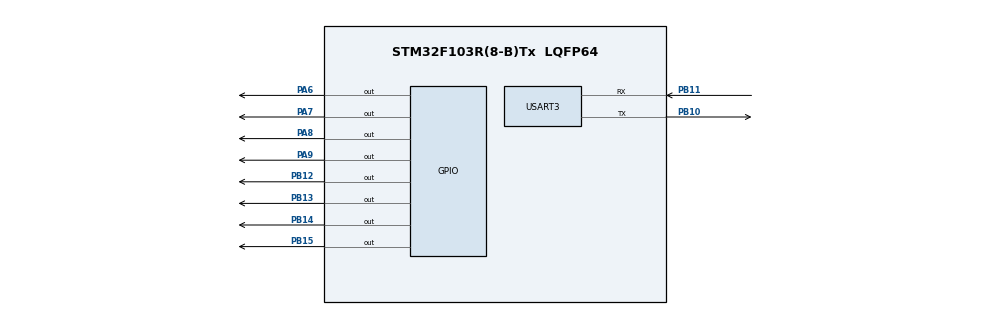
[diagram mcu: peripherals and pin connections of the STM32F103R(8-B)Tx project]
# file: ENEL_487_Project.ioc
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FREERTOS.Tasks01=defaultTask,24,128,StartDefaultTask,Default,NULL,Dynamic,NULL,NULL
Mcu.Family=STM32F1
Mcu.Name=STM32F103R(8-B)Tx
Mcu.Package=LQFP64
NVIC.PriorityGroup=NVIC_PRIORITYGROUP_4
NVIC.TIM4_IRQn=true\:0\:0\:false\:false\:true\:false\:false\:true
NVIC.TimeBase=TIM4_IRQn
NVIC.TimeBaseIP=TIM4
PA13.Mode=Serial_Wire
PA13.Signal=SYS_JTMS-SWDIO
PA14.Mode=Serial_Wire
PA14.Signal=SYS_JTCK-SWCLK
PA6.Signal=GPIO_Output
PA7.Signal=GPIO_Output
PA8.Signal=GPIO_Output
PA9.Signal=GPIO_Output
PB10.Mode=Asynchronous
PB10.Signal=USART3_TX
PB11.Mode=Asynchronous
PB11.Signal=USART3_RX
PB12.Signal=GPIO_Output
PB13.Signal=GPIO_Output
PB14.Signal=GPIO_Output
PB15.Signal=GPIO_Output
ProjectManager.HeapSize=0x200
ProjectManager.StackSize=0x400
ProjectManager.TargetToolchain=STM32CubeIDE
RCC.APB1Freq_Value=8000000
RCC.APB2Freq_Value=8000000
USART3.VirtualMode=VM_ASYNC
VP_FREERTOS_VS_CMSIS_V2.Mode=CMSIS_V2
VP_SYS_VS_tim4.Mode=TIM4
VP_TIM2_VS_ClockSourceINT.Mode=Internal
board=custom

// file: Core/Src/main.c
/* USER CODE BEGIN Header */
/**
  ******************************************************************************
  * @file           : main.c
  * @brief          : Main program body
  ******************************************************************************
  * @attention
  *
  * <h2><center>&copy; Copyright (c) 2020 STMicroelectronics.
  * All rights reserved.</center></h2>
  *
  * This software component is licensed by ST under BSD 3-Clause license,
  * the "License"; You may not use this file except in compliance with the
  * License. You may obtain a copy of the License at:
  *                        opensource.org/licenses/BSD-3-Clause
  *
  ******************************************************************************
  */
/* USER CODE END Header */
#include "main.h"
#include "cmsis_os.h"

/* USER CODE BEGIN Includes */
#include <stdlib.h>
#include <stdio.h>
#include <string.h>
#include <stdbool.h>
/* USER CODE END Includes */

TIM_HandleTypeDef htim2;

UART_HandleTypeDef huart3;

/* Definitions for cliTask */
osThreadId_t cliTaskHandle;
const osThreadAttr_t cliTask_attributes = {
  .name = "cliTask",
  .priority = (osPriority_t) osPriorityNormal,
  .stack_size = 128 * 4
};
/* Definitions for statusUpdate */
osThreadId_t statusUpdateHandle;
const osThreadAttr_t statusUpdate_attributes = {
  .name = "statusUpdate",
  .priority = (osPriority_t) osPriorityBelowNormal,
  .stack_size = 128 * 4
};
/* Definitions for stateController */
osThreadId_t stateControllerHandle;
const osThreadAttr_t stateController_attributes = {
  .name = "stateController",
  .priority = (osPriority_t) osPriorityAboveNormal,
  .stack_size = 128 * 4
};
/* Definitions for CLI_Queue */
osMessageQueueId_t CLI_QueueHandle;
const osMessageQueueAttr_t CLI_Queue_attributes = {
  .name = "CLI_Queue"
};
/* Definitions for Status_Queue */
osMessageQueueId_t Status_QueueHandle;
const osMessageQueueAttr_t Status_Queue_attributes = {
  .name = "Status_Queue"
};
/* Definitions for myTimer01 */
osTimerId_t myTimer01Handle;
const osTimerAttr_t myTimer01_attributes = {
  .name = "myTimer01"
};
/* USER CODE BEGIN PV */

const static char* ENTER_CMD = "Enter command or '?' to see available commands: ";

#define CLEAR "\x1b[2J"
#define RC(r,c) "\x1b[" #r ";" #c "f"
#define ROLL_TO_BOTTOM(r) "\x1b[" #r ";r"
#define SAVE_CURSOR "\x1b[s"
#define RESTORE_CURSOR "\x1b[u"
#define MAX_USER_INPUT  50
#define forward "\x1b[1C"

uint8_t cli_buffer_TX[MAX_USER_INPUT];
uint8_t cli_buffer_RX[MAX_USER_INPUT];
uint8_t cli_char_RX;
int counter = 0;

bool line_complete = false;
/* USER CODE END PV */

void SystemClock_Config(void);
static void MX_GPIO_Init(void);
static void MX_TIM2_Init(void);
static void MX_USART3_UART_Init(void);
void startcliTask(void *argument);
void updateTask(void *argument);
void controllerTask(void *argument);
void Callback01(void *argument);

int main(void)
{

  /* MCU Configuration--------------------------------------------------------*/

  /* Reset of all peripherals, Initializes the Flash interface and the Systick. */
  HAL_Init();

  /* Configure the system clock */
  SystemClock_Config();

  /* Initialize all configured peripherals */
  MX_GPIO_Init();
  MX_TIM2_Init();
  MX_USART3_UART_Init();

  /* USER CODE BEGIN 2 */
  HAL_GPIO_WritePin(GPIOA, GPIO_PIN_6, GPIO_PIN_SET);
  HAL_GPIO_WritePin(GPIOA, GPIO_PIN_7, GPIO_PIN_SET);
  HAL_GPIO_WritePin(GPIOA, GPIO_PIN_8, GPIO_PIN_SET);
  HAL_GPIO_WritePin(GPIOA, GPIO_PIN_9, GPIO_PIN_SET);
  HAL_GPIO_WritePin(GPIOB, GPIO_PIN_12, GPIO_PIN_SET);
  HAL_GPIO_WritePin(GPIOB, GPIO_PIN_13, GPIO_PIN_SET);
  HAL_GPIO_WritePin(GPIOB, GPIO_PIN_14, GPIO_PIN_SET);
  HAL_GPIO_WritePin(GPIOB, GPIO_PIN_15, GPIO_PIN_SET);

      strcpy (cli_buffer_TX, "\x1b[2J");
      print_string_block("\x1b[2J");
      print_string_block(CLEAR);
      HAL_Delay(500);
      HAL_Delay(2000);
      print_string_block(CLEAR);
      print_string_block(RC(5,1));
      print_string_block(ROLL_TO_BOTTOM(5));
      print_string_block(RC(5,1));
      print_string_block(ENTER_CMD);
  /* USER CODE END 2 */

  /* Init scheduler */
  osKernelInitialize();

  /* Create the timer(s) */
  /* creation of myTimer01 */
  myTimer01Handle = osTimerNew(Callback01, osTimerPeriodic, NULL, &myTimer01_attributes);

  /* Create the queue(s) */
  /* creation of CLI_Queue */
  CLI_QueueHandle = osMessageQueueNew (1, sizeof(uint16_t), &CLI_Queue_attributes);

  /* creation of Status_Queue */
  Status_QueueHandle = osMessageQueueNew (1, sizeof(uint16_t), &Status_Queue_attributes);

  /* Create the thread(s) */
  /* creation of cliTask */
  cliTaskHandle = osThreadNew(startcliTask, NULL, &cliTask_attributes);

  /* creation of statusUpdate */
  statusUpdateHandle = osThreadNew(updateTask, NULL, &statusUpdate_attributes);

  /* creation of stateController */
  stateControllerHandle = osThreadNew(controllerTask, NULL, &stateController_attributes);

  /* Start scheduler */
  osKernelStart();

  /* We should never get here as control is now taken by the scheduler */
  /* Infinite loop */
  while (1)
  {

  }
}

void SystemClock_Config(void)
{
  RCC_OscInitTypeDef RCC_OscInitStruct = {0};
  RCC_ClkInitTypeDef RCC_ClkInitStruct = {0};

  /** Initializes the RCC Oscillators according to the specified parameters
  * in the RCC_OscInitTypeDef structure.
  */
  RCC_OscInitStruct.OscillatorType = RCC_OSCILLATORTYPE_HSI;
  RCC_OscInitStruct.HSIState = RCC_HSI_ON;
  RCC_OscInitStruct.HSICalibrationValue = RCC_HSICALIBRATION_DEFAULT;
  RCC_OscInitStruct.PLL.PLLState = RCC_PLL_NONE;
  if (HAL_RCC_OscConfig(&RCC_OscInitStruct) != HAL_OK)
  {
    Error_Handler();
  }
  /** Initializes the CPU, AHB and APB buses clocks
  */
  RCC_ClkInitStruct.ClockType = RCC_CLOCKTYPE_HCLK|RCC_CLOCKTYPE_SYSCLK
                              |RCC_CLOCKTYPE_PCLK1|RCC_CLOCKTYPE_PCLK2;
  RCC_ClkInitStruct.SYSCLKSource = RCC_SYSCLKSOURCE_HSI;
  RCC_ClkInitStruct.AHBCLKDivider = RCC_SYSCLK_DIV1;
  RCC_ClkInitStruct.APB1CLKDivider = RCC_HCLK_DIV1;
  RCC_ClkInitStruct.APB2CLKDivider = RCC_HCLK_DIV1;

  if (HAL_RCC_ClockConfig(&RCC_ClkInitStruct, FLASH_LATENCY_0) != HAL_OK)
  {
    Error_Handler();
  }
}

static void MX_TIM2_Init(void)
{

  TIM_ClockConfigTypeDef sClockSourceConfig = {0};
  TIM_MasterConfigTypeDef sMasterConfig = {0};

  htim2.Instance = TIM2;
  htim2.Init.Prescaler = 4000-1;
  htim2.Init.CounterMode = TIM_COUNTERMODE_UP;
  htim2.Init.Period = 1000-1;
  htim2.Init.ClockDivision = TIM_CLOCKDIVISION_DIV1;
  htim2.Init.AutoReloadPreload = TIM_AUTORELOAD_PRELOAD_DISABLE;
  if (HAL_TIM_Base_Init(&htim2) != HAL_OK)
  {
    Error_Handler();
  }
  sClockSourceConfig.ClockSource = TIM_CLOCKSOURCE_INTERNAL;
  if (HAL_TIM_ConfigClockSource(&htim2, &sClockSourceConfig) != HAL_OK)
  {
    Error_Handler();
  }
  sMasterConfig.MasterOutputTrigger = TIM_TRGO_RESET;
  sMasterConfig.MasterSlaveMode = TIM_MASTERSLAVEMODE_DISABLE;
  if (HAL_TIMEx_MasterConfigSynchronization(&htim2, &sMasterConfig) != HAL_OK)
  {
    Error_Handler();
  }

}

static void MX_USART3_UART_Init(void)
{

  huart3.Instance = USART3;
  huart3.Init.BaudRate = 115200;
  huart3.Init.WordLength = UART_WORDLENGTH_8B;
  huart3.Init.StopBits = UART_STOPBITS_1;
  huart3.Init.Parity = UART_PARITY_NONE;
  huart3.Init.Mode = UART_MODE_TX_RX;
  huart3.Init.HwFlowCtl = UART_HWCONTROL_NONE;
  huart3.Init.OverSampling = UART_OVERSAMPLING_16;
  if (HAL_UART_Init(&huart3) != HAL_OK)
  {
    Error_Handler();
  }

}

static void MX_GPIO_Init(void)
{
  GPIO_InitTypeDef GPIO_InitStruct = {0};

  /* GPIO Ports Clock Enable */
  __HAL_RCC_GPIOA_CLK_ENABLE();
  __HAL_RCC_GPIOB_CLK_ENABLE();

  /*Configure GPIO pin Output Level */
  HAL_GPIO_WritePin(GPIOA, GPIO_PIN_6|GPIO_PIN_7|GPIO_PIN_8|GPIO_PIN_9, GPIO_PIN_RESET);

  /*Configure GPIO pin Output Level */
  HAL_GPIO_WritePin(GPIOB, GPIO_PIN_12|GPIO_PIN_13|GPIO_PIN_14|GPIO_PIN_15, GPIO_PIN_RESET);

  /*Configure GPIO pins : PA6 PA7 PA8 PA9 */
  GPIO_InitStruct.Pin = GPIO_PIN_6|GPIO_PIN_7|GPIO_PIN_8|GPIO_PIN_9;
  GPIO_InitStruct.Mode = GPIO_MODE_OUTPUT_PP;
  GPIO_InitStruct.Pull = GPIO_NOPULL;
  GPIO_InitStruct.Speed = GPIO_SPEED_FREQ_LOW;
  HAL_GPIO_Init(GPIOA, &GPIO_InitStruct);

  /*Configure GPIO pins : PB12 PB13 PB14 PB15 */
  GPIO_InitStruct.Pin = GPIO_PIN_12|GPIO_PIN_13|GPIO_PIN_14|GPIO_PIN_15;
  GPIO_InitStruct.Mode = GPIO_MODE_OUTPUT_PP;
  GPIO_InitStruct.Pull = GPIO_NOPULL;
  GPIO_InitStruct.Speed = GPIO_SPEED_FREQ_LOW;
  HAL_GPIO_Init(GPIOB, &GPIO_InitStruct);

}

/* USER CODE BEGIN 4 */
void print_string(const char* text)
{
    int i = 0;
    HAL_StatusTypeDef status_a;

    while(huart3.gState == HAL_UART_STATE_BUSY_TX){}

	for (const char* p = text; *p; ++p)
	{
    	cli_buffer_TX[i] =  *p;
    	i++;
    }

	status_a = HAL_UART_Transmit_IT(&huart3, cli_buffer_TX, i);

	if (status_a != HAL_OK)
	{
		Error_Handler();
	}
}

void print_string_block(const char* text)
{
    int i=0;
    HAL_StatusTypeDef status_a;

    while(huart3.gState == HAL_UART_STATE_BUSY_TX){}

	for (const char* p = text; *p; ++p)
	{
    	cli_buffer_TX[i] = *p;
    	i++;
    }

	status_a = HAL_UART_Transmit(&huart3, cli_buffer_TX, i, 1000);

	if (status_a != HAL_OK)
	{
		Error_Handler();
	}
}

void byte_send (char msgChar)
{
    while(huart3.gState == HAL_UART_STATE_BUSY_TX){}
	HAL_UART_Transmit(&huart3, &msgChar, 1,1000);
}

_Bool line_return (cli_buffer_RX, cli_char_RX)
{
	  char enter_char = '\r';
	  char text_1;
	  _Bool update = false;

	  byte_send(cli_char_RX);
	  text_1 = (char)cli_char_RX;

	  if(text_1 != enter_char)
	  {
		  update = false;
	  }

	  if(text_1 == enter_char)
	  {
		  update = true;
	  }

	 return update;
}

/* USER CODE END 4 */

void startcliTask(void *argument)
{
  /* USER CODE BEGIN 5 */
	uint16_t update_text =1000;
	uint16_t value = 0;
	uint8_t accl_factor[5];

	char failsafe_mode[] = "fsmode";
	char static_mode[] = "scmode";
	char help[] = "?";
	char space = ' ';

  /* Infinite loop */
	while(1)
	{
	 if ((HAL_UART_Receive ( &huart3, &cli_char_RX, 1, 10) == HAL_OK))
	 {
		line_complete =  line_return (cli_buffer_RX, cli_char_RX);

		if(!line_complete)
		{
			cli_buffer_RX[strlen((char*) cli_buffer_RX)] = cli_char_RX;
		}

		if(line_complete)
		{
			if((strcmp((char*)cli_buffer_RX, (char*)failsafe_mode)) == 0)
			{
				update_text = 1111;
			}

			else if((strcmp((char*)cli_buffer_RX, (char*)static_mode)) == 0)
			{
				update_text = 2222;
			}

			else if((strcmp((char*)cli_buffer_RX, (char*)help)) == 0)
			{
				update_text = 4444;
			}

			else if(cli_buffer_RX[0] == 'a' && cli_buffer_RX[1] == 't' && cli_buffer_RX[2] == 'm' && cli_buffer_RX[3] == 'o' && cli_buffer_RX[4] == 'd' && cli_buffer_RX[5] == 'e')
			{
				if((char)cli_buffer_RX[6] == space)
				{
					for(int j = 0; j < (strlen((char*) cli_buffer_RX) - 7); j++)
					{
						accl_factor[j] =  cli_buffer_RX[j + 7];
					}

					value = atoi((char*)accl_factor);

					if((value <= 100) && (value > 0))
					{
						update_text = value;
					}

					else
					{
						update_text = 1010;
					}
				}

				else if((char)cli_buffer_RX[6] != space)
				{
					update_text = 1010;
				}
			}

			else
			{
				update_text = update_text;
			}

			memset(cli_buffer_RX, 0, sizeof(cli_buffer_RX));
			memset(accl_factor, 0, sizeof(accl_factor));

			print_string_block("\r\n");
			print_string_block(ENTER_CMD);

			if(osMessageQueuePut(CLI_QueueHandle, &update_text, 1U, 0U)!= osOK)
			{
			   Error_Handler();
			}
		 }
	 }
	 osDelay(50);
  }
  /* USER CODE END 5 */
}

void updateTask(void *argument)
{
  /* USER CODE BEGIN updateTask */
	uint16_t status_text;
	uint16_t period;
	osStatus_t status;

  /* Infinite loop */
  for(;;)
  {
	  static char outstring[100];
	  status = osMessageQueueGet(Status_QueueHandle, &status_text, NULL, 0U );
	  if(status == osOK)
	  {
		  period = status_text;
	  }

	  print_string_block(SAVE_CURSOR);
	  print_string_block(RC(1,1));
	  RC(1,1);

	  if((period > 100) && (period < 0) && (period != 2222) && (period != 4444) && (period != 1111))
	  {
		  strcpy ( outstring, "Wrong command! Enter '?' to see available commands \r\n" );
	  }

	  else if((period == 4444))
	  {
		  strcpy ( outstring, "Enter 'fsmode' for failsafe mode, 'scmode' for static cycle mode & 'atmode #' for accelerated-time mode \r\n" );
	  }

	  else
	  {
		  snprintf(outstring, 100,"period:% 5d \r\n",period);
	  }

	  print_string_block(outstring);
	  print_string_block(RESTORE_CURSOR);

	  osDelay(50);
  }
  /* USER CODE END updateTask */
}

void controllerTask(void *argument)
{
  /* USER CODE BEGIN controllerTask */

		_Bool FS_MODE = true;
		_Bool SC_MODE = false;

		osStatus_t status;
		uint16_t count_time;
		uint16_t status_text;
	 	uint16_t update_text;
		uint16_t states = 0;
		uint16_t state_option = 0;
		uint16_t option = 1000;
		uint16_t period = 1000;

		HAL_TIM_Base_Start(&htim2);

	if(osMessageQueuePut(Status_QueueHandle, &status_text, 1U, 0U)!= osOK)
	  {
	    Error_Handler();
	  }

  /* Infinite loop */
  for(;;)
  {
		status = osMessageQueueGet(CLI_QueueHandle, &update_text, NULL, 0U );
		if(status == osOK)
		{
			period = update_text;
			status_text = update_text;

			if(osMessageQueuePut(Status_QueueHandle, &status_text, 1U, 0U)!= osOK)
		    {
			  Error_Handler();
			}

			if(update_text == 1111)
			{
				FS_MODE = true;
				SC_MODE = false;
				states = 0;
				HAL_GPIO_WritePin(GPIOA, GPIO_PIN_6, GPIO_PIN_SET);
				HAL_GPIO_WritePin(GPIOA, GPIO_PIN_7, GPIO_PIN_SET);
				HAL_GPIO_WritePin(GPIOA, GPIO_PIN_8, GPIO_PIN_SET);
				HAL_GPIO_WritePin(GPIOA, GPIO_PIN_9, GPIO_PIN_SET);
				HAL_GPIO_WritePin(GPIOB, GPIO_PIN_12, GPIO_PIN_SET);
				HAL_GPIO_WritePin(GPIOB, GPIO_PIN_13, GPIO_PIN_SET);
				HAL_GPIO_WritePin(GPIOB, GPIO_PIN_14, GPIO_PIN_SET);
				HAL_GPIO_WritePin(GPIOB, GPIO_PIN_15, GPIO_PIN_SET);
			}

			else if(update_text == 2222)
			{
				FS_MODE = false;
				SC_MODE = true;
				state_option = 0;
				HAL_GPIO_WritePin(GPIOA, GPIO_PIN_6, GPIO_PIN_SET);
				HAL_GPIO_WritePin(GPIOA, GPIO_PIN_7, GPIO_PIN_SET);
				HAL_GPIO_WritePin(GPIOA, GPIO_PIN_8, GPIO_PIN_SET);
				HAL_GPIO_WritePin(GPIOA, GPIO_PIN_9, GPIO_PIN_SET);
				HAL_GPIO_WritePin(GPIOB, GPIO_PIN_12, GPIO_PIN_SET);
				HAL_GPIO_WritePin(GPIOB, GPIO_PIN_13, GPIO_PIN_SET);
				HAL_GPIO_WritePin(GPIOB, GPIO_PIN_14, GPIO_PIN_SET);
				HAL_GPIO_WritePin(GPIOB, GPIO_PIN_15, GPIO_PIN_SET);
			}

			else if((period <= 100) && (period > 0))
			{
				option = 1000 / update_text;
			}

		}
		if(FS_MODE)
		{
			count_time =  __HAL_TIM_GET_COUNTER(&htim2);

			if(!(count_time % 1000))
			{
				HAL_GPIO_TogglePin(GPIOA, GPIO_PIN_6);
				HAL_GPIO_TogglePin(GPIOB, GPIO_PIN_12);
				while(!(__HAL_TIM_GET_COUNTER(&htim2) % 1000)){}
			}
		}

		if(SC_MODE)
		{
			count_time =  __HAL_TIM_GET_COUNTER(&htim2);

			if(!(count_time % option))
			{
				while(!(__HAL_TIM_GET_COUNTER(&htim2) % option)){}
				state_option++;

				if(state_option == 1)
				{
					states = 0;

					//ON - primary green, primary walk, secondary red
					//OFF - secondary green, secondary yellow, secondary walk
					HAL_GPIO_WritePin(GPIOA, GPIO_PIN_8, GPIO_PIN_RESET);
					HAL_GPIO_WritePin(GPIOA, GPIO_PIN_9, GPIO_PIN_RESET);
					HAL_GPIO_WritePin(GPIOB, GPIO_PIN_12, GPIO_PIN_RESET);
					HAL_GPIO_WritePin(GPIOA, GPIO_PIN_6, GPIO_PIN_SET);
					HAL_GPIO_WritePin(GPIOB, GPIO_PIN_13, GPIO_PIN_SET);
					HAL_GPIO_WritePin(GPIOB, GPIO_PIN_15, GPIO_PIN_SET);
				}

				else if(state_option == 141)
				{
					states = 1;
				}

				else if (state_option == 167)
				{
					states = 0;

					//ON - primary yellow
					//OFF - primary green, primary walk
					HAL_GPIO_WritePin(GPIOA, GPIO_PIN_7, GPIO_PIN_RESET);
					HAL_GPIO_WritePin(GPIOA, GPIO_PIN_8, GPIO_PIN_SET);
					HAL_GPIO_WritePin(GPIOA, GPIO_PIN_9, GPIO_PIN_SET);
				}

				else if (state_option == 174)
				{
					//ON - primary red
					//OFF - primary yellow
					HAL_GPIO_WritePin(GPIOA, GPIO_PIN_6, GPIO_PIN_RESET);
					HAL_GPIO_WritePin(GPIOA, GPIO_PIN_7, GPIO_PIN_SET);
				}

				else if (state_option == 186)
				{
					//ON - secondary green, secondary walk
					//OFF - secondary red
					HAL_GPIO_WritePin(GPIOB, GPIO_PIN_14, GPIO_PIN_RESET);
					HAL_GPIO_WritePin(GPIOB, GPIO_PIN_15, GPIO_PIN_RESET);
					HAL_GPIO_WritePin(GPIOB, GPIO_PIN_12, GPIO_PIN_SET);
				}

				else if(state_option == 226)
				{
					states = 2;
				}

				else if(state_option == 242)
				{
					states = 0;

					//ON - secondary yellow
					//OFF - secondary green
					HAL_GPIO_WritePin(GPIOB, GPIO_PIN_14, GPIO_PIN_SET);
					HAL_GPIO_WritePin(GPIOB, GPIO_PIN_13, GPIO_PIN_RESET);
				}

				else if(state_option == 249)
				{
					state_option = 0;
				}

				if (states == 1)
				{
					//TOGGLE - primary walk
					HAL_GPIO_TogglePin(GPIOA, GPIO_PIN_9);
				}

				else if (states == 2)
				{
					//TOGGLE - secondary walk
					HAL_GPIO_TogglePin(GPIOB, GPIO_PIN_15);
				}
			}
		}

	    osDelay(50);
  }
  /* USER CODE END controllerTask */
}

/* Callback01 function */
void Callback01(void *argument)
{
  /* USER CODE BEGIN Callback01 */
	//HAL_GPIO_TogglePin(GPIOA, GPIO_PIN_6);

  /* USER CODE END Callback01 */
}

void HAL_TIM_PeriodElapsedCallback(TIM_HandleTypeDef *htim)
{
  if (htim->Instance == TIM4) {
    HAL_IncTick();
  }
}

void Error_Handler(void)
{
}

/************************ (C) COPYRIGHT STMicroelectronics *****END OF FILE****/
